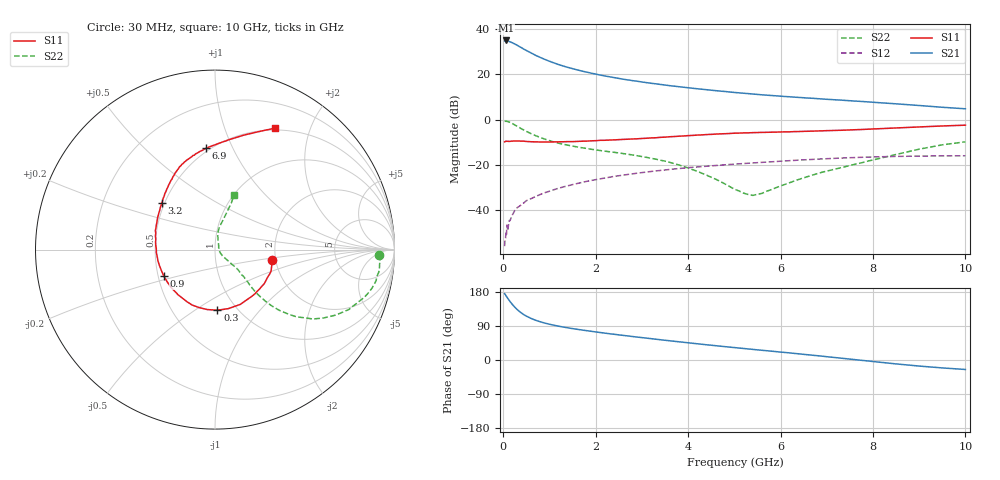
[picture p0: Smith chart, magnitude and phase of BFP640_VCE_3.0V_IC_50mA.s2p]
! Infineon Technologies  Discrete & RF Semiconductors
! BFP640
! VCE =  3.0 V,  IC =  50 mA
! Common Emitter S-Parameters:  Apr 2013
# GHz  S  MA  R  50
!  f  S11  S21  S12  S22
! GHz  MAG  ANG  MAG  ANG  MAG  ANG  MAG  ANG
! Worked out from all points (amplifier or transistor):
!   99 points, 30 MHz to 10 GHz, reference 50 ohm
!   highest |S21| = 35.0 dB at 60 MHz (marker M1)
!   |S21| within 3 dB of that: start of sweep to 376.2 MHz
!   unconditionally stable (mu >= 1): 1.431 GHz to end of sweep
!   at 350 MHz: K = 0.55, MSG = 35.3 dB, |S12| = -38.3 dB
!   at 3.5 GHz: K = 1.09, MAG = 17.0 dB, |S12| = -22.2 dB
!   at 10 GHz: K = 1.07, MAG = 8.7 dB, |S12| = -16.0 dB
!   S11 on the Smith chart (normalised r, x): 30 MHz: 1.91, -0.25; 300 MHz: 0.81, -0.62; 900 MHz: 0.54, -0.18; 3.2 GHz: 0.48, +0.30; 6.9 GHz: 0.48, +0.79; 10 GHz: 0.48, +1.51
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0.03  0.3242 -10.4  55.25 174.9  0.0016 82.2  0.9153 -1.8
0.06  0.3348 -21.0  56.25 169.6  0.0033 80.0  0.9224 -6.6
0.12  0.3313 -41.9  53.76 158.9  0.005 81.1  0.8923 -15.1
0.2  0.3362 -65.3  49.83 146.2  0.0079 74.2  0.8161 -24.2
0.25  0.3372 -77.5  47.12 139.4  0.0098 72.8  0.7649 -28.5
0.3  0.338 -87.7  44.25 133.3  0.0113 70.5  0.7148 -32.2
0.35  0.3368 -97.3  41.09 128.1  0.0122 68.4  0.669 -35.3
0.4  0.335 -105.2  38.71 123.4  0.0134 66.4  0.6213 -37.6
0.45  0.3341 -112.4  35.94 119.3  0.0146 67.3  0.589 -39.5
0.6  0.325 -129.1  29.87 109.8  0.0179 65.6  0.492 -43.4
0.7  0.323 -138.5  26.41 105.0  0.02 65.5  0.4437 -44.8
0.9  0.321 -152.7  21.44 97.4  0.0243 64.5  0.3713 -46.1
1.2  0.3239 -168.8  16.48 89.2  0.0305 63.6  0.3017 -46.0
1.7  0.3338 172.8  11.87 79.2  0.0409 61.4  0.2397 -44.0
2.3  0.3544 157.3  8.851 69.3  0.0534 57.3  0.1951 -42.9
3.2  0.3946 138.9  6.368 56.3  0.0716 50.0  0.14 -40.8
3.4  0.4064 135.3  5.996 53.5  0.0754 48.2  0.127 -41.1
5.1  0.5044 112.2  3.916 31.6  0.1054 33.3  0.0266 -19.1
6.7  0.5575 97.3  2.964 12.5  0.1323 19.1  0.0599 73.5
6.9  0.5663 95.0  2.869 10.1  0.1356 17.2  0.0689 76.0
8.5  0.6554 76.2  2.237 -10.3  0.154 1.1  0.17 74.9
10  0.7552 63.6  1.738 -25.0  0.1593 -10.8  0.3237 70.8
